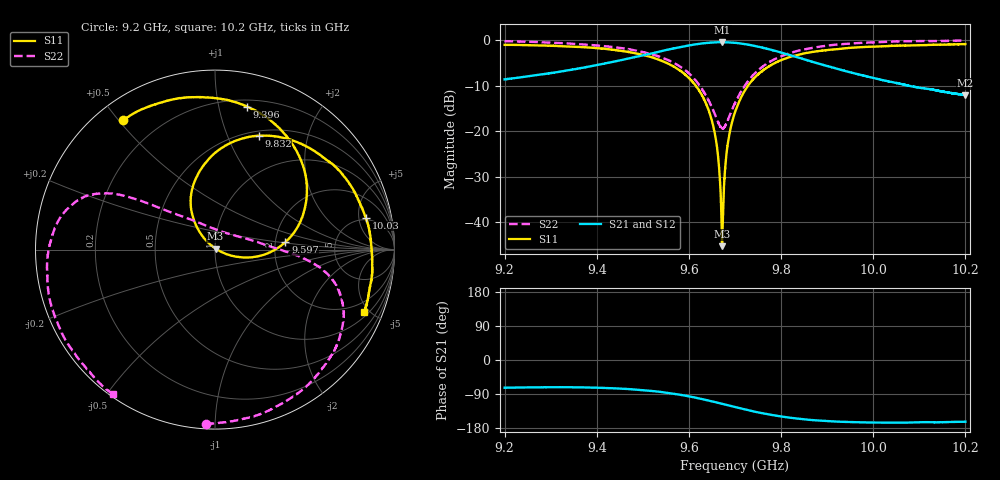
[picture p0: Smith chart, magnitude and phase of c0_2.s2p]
!Agilent Technologies,N5242A,MY51221714,A.09.90.19
!Agilent N5242A: A.09.90.19
!Date: Saturday, December 30, 2023 10:53:22
!Correction: S11(Full 2 Port(1,2))
!S21(Full 2 Port(1,2))
!S12(Full 2 Port(1,2))
!S22(Full 2 Port(1,2))
!S2P File: Measurements: S11, S21, S12, S22:
# Hz S  dB  R 50
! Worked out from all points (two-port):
!   16001 points, 9.2 GHz to 10.2 GHz, reference 50 ohm
!   highest |S21| = -0.48 dB at 9.673 GHz (marker M1); lowest = -12.1 dB at 10.2 GHz (marker M2)
!   |S21| within 3 dB of the highest: 9.495 GHz to 9.824 GHz (329.8 MHz wide, 3.41 % of centre); 9.824513 GHz to 9.824755 GHz (241.6 kHz wide, 0.00246 % of centre)
!   lowest |S11| = -45.2 dB at 9.672 GHz (marker M3), VSWR 1.01, Z = 50.3 + j0.458 ohm
!   |S11| at or under -10 dB: 9.615 GHz to 9.728 GHz (113.7 MHz wide, 1.18 % of centre)
!   |S22| runs from -19.4 to -0.1 dB; largest |S21 - S12| = 0.015
!   S11 on the Smith chart (normalised r, x): 9.2 GHz: 0.08, +0.51; 9.396 GHz: 0.25, +1.22; 9.597 GHz: 2.27, +0.23; 9.832 GHz: 0.55, +1.30; 10.03 GHz: 4.56, +6.23; 10.2 GHz: 1.25, -4.64
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9.2e9  -1.07 125.3  -8.64 -73.2  -8.61 -74.0  -0.24 -92.9
9.366688e9  -1.55 85.4  -6.15 -72.2  -6.13 -73.1  -0.97 -48.8
9.396062e9  -1.76 77.5  -5.58 -72.9  -5.56 -73.7  -1.18 -41.4
9.4645e9  -2.57 57.1  -4.16 -76.4  -4.16 -77.2  -1.94 -26.3
9.533375e9  -4.28 33.1  -2.61 -83.5  -2.60 -84.1  -3.58 -13.5
9.597188e9  -8.08 6.2  -1.26 -95.3  -1.24 -96.0  -7.06 -3.7
9.628625e9  -12.17 -8.5  -0.76 -103.1  -0.75 -103.9  -10.80 4.9
9.65e9  -17.75 -18.1  -0.56 -109.2  -0.55 -109.9  -14.79 19.8
9.661312e9  -23.88 -21.3  -0.51 -112.5  -0.50 -113.1  -17.57 37.0
9.669e9  -34.04 -12.4  -0.49 -114.9  -0.47 -115.5  -19.11 57.3
9.672062e9  -45.23 56.2  -0.49 -115.7  -0.47 -116.4  -19.38 67.9
9.672812e9  -42.20 89.5  -0.48 -115.9  -0.47 -116.6  -19.40 70.5
9.684125e9  -22.93 134.5  -0.52 -119.4  -0.50 -120.1  -17.66 104.4
9.7e9  -15.89 128.6  -0.63 -124.2  -0.60 -125.0  -13.87 126.6
9.746562e9  -7.86 105.7  -1.40 -137.3  -1.37 -138.2  -6.98 145.1
9.83225e9  -3.37 69.1  -3.70 -154.2  -3.70 -154.9  -2.49 155.8
9.866688e9  -2.65 56.9  -4.74 -158.5  -4.74 -159.2  -1.75 160.7
9.95e9  -1.72 32.4  -7.08 -163.7  -7.08 -164.4  -0.79 176.0
1.00325e10  -1.32 12.0  -9.06 -165.1  -9.05 -165.9  -0.38 -166.1
1.003338e10  -1.32 11.8  -9.07 -165.2  -9.08 -165.9  -0.38 -165.9
1.01995e10  -0.90 -22.5  -12.10 -162.8  -12.07 -163.7  -0.12 -125.2
1.02e10  -0.90 -22.8  -12.09 -162.8  -12.08 -163.7  -0.12 -125.1
